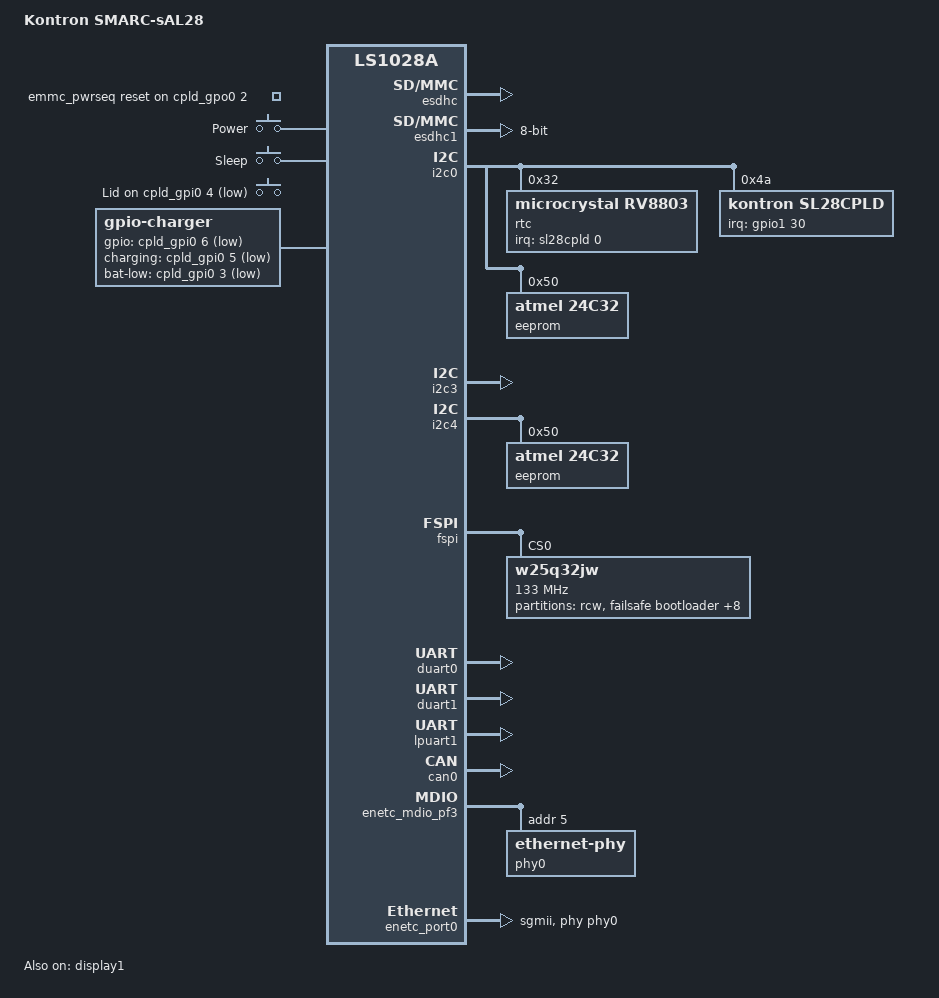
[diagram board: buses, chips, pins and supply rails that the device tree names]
/*
 * Device Tree Include file for Kontron SMARC-sAL28.
 */

/dts-v1/;
#include "../freescale/fsl-ls1028a.dtsi"
#include <dt-bindings/gpio/gpio.h>
#include <dt-bindings/input/input.h>

/ {
	model = "Kontron SMARC-sAL28";
	compatible = "kontron,sl28", "fsl,ls1028a";

	aliases {
		crypto = &crypto;
		serial0 = &duart0;
		serial1 = &duart1;
	};

	chosen {
		stdout-path = "serial0:115200n8";
	};

	emmc_pwrseq: emmc-pwrseq {
		compatible = "mmc-pwrseq-simple";
		reset-gpios = <&cpld_gpo0 2 GPIO_ACTIVE_HIGH>;
	};

	buttons0 {
		compatible = "gpio-keys";

		power-button {
			interrupt-parent = <&sl28cpld>;
			interrupts = <4 0>;
			linux,code = <KEY_POWER>;
			label = "Power";
			wakeup-source;
		};

		sleep-button {
			interrupt-parent = <&sl28cpld>;
			interrupts = <5 0>;
			linux,code = <KEY_SLEEP>;
			label = "Sleep";
			wakeup-source;
		};
	};

	buttons1 {
		compatible = "gpio-keys-polled";
		poll-interval = <200>;

		lid_sw: lid_switch {
			linux,input-type = <EV_SW>;
			linux,code = <SW_LID>;
			gpios = <&cpld_gpi0 4 GPIO_ACTIVE_LOW>;
			label = "Lid";
		};
	};

	charger {
		compatible = "gpio-charger";
		charger-type = "battery";
		gpios = <&cpld_gpi0 6 GPIO_ACTIVE_LOW>;
		charging-gpio = <&cpld_gpi0 5 GPIO_ACTIVE_LOW>;
		bat-low-gpio = <&cpld_gpi0 3 GPIO_ACTIVE_LOW>;
	};
};

&esdhc {
	status = "okay";
	sd-uhs-sdr104;
	sd-uhs-sdr50;
	sd-uhs-sdr25;
	sd-uhs-sdr12;
};

&esdhc1 {
	status = "okay";
	bus-width = <8>;
	mmc-hs200-1_8v;
	mmc-pwrseq = <&emmc_pwrseq>;
};

&i2c0 {
	status = "okay";
	/* DMA is broken for now (maybe just a driver issue). If the device
	 * answers with a NAK, the DMA engine will not return and the I2C
	 * driver will wait for a huge 1000ms timeout. This breaks the at24
	 * driver for example. So disable the DMA engine for now. */
	dma-names = <>;

	rtc@32 {
		compatible = "microcrystal,rv8803";
		reg = <0x32>;
		interrupt-parent = <&sl28cpld>;
		interrupts = <0 0>;
	};

	sl28cpld: sl28cpld@4a {
		#address-cells = <1>;
		#size-cells = <0>;
		compatible = "kontron,sl28cpld";
		reg = <0x4a>;
		interrupt-parent = <&gpio1>;
		interrupts = <30 IRQ_TYPE_EDGE_FALLING>;

		interrupt-controller;
		#interrupt-cells = <2>;

		watchdog@4 {
			compatible = "kontron,sl28cpld-wdt";
			reg = <0x4>;
		};

		fan@b {
			compatible = "kontron,sl28cpld-fan";
			reg = <0xb>;
		};

		pwm0: pwm0@c {
			#pwm-cells = <2>;
			compatible = "kontron,sl28cpld-pwm";
			reg = <0xc>;
		};

		pwm1: pwm1@e {
			#pwm-cells = <2>;
			compatible = "kontron,sl28cpld-pwm";
			reg = <0xe>;
		};

		cpld_gpio0: gpio0@10 {
			compatible = "kontron,sl28cpld-gpio";
			reg = <0x10>;
			interrupt-parent = <&gpio1>;
			interrupts = <30 IRQ_TYPE_EDGE_FALLING>;

			gpio-controller;
			#gpio-cells = <2>;
			gpio-line-names =
				"GPIO0_CAM0_PWR_N", "GPIO1_CAM1_PWR_N",
				"GPIO2_CAM0_RST_N", "GPIO3_CAM1_RST_N",
				"GPIO4_HDA_RST_N", "GPIO5_PWM_OUT",
				"GPIO6_TACHIN", "GPIO7";

			interrupt-controller;
			#interrupt-cells = <2>;
		};

		cpld_gpio1: gpio1@15 {
			compatible = "kontron,sl28cpld-gpio";
			reg = <0x15>;
			interrupt-parent = <&gpio1>;
			interrupts = <30 IRQ_TYPE_EDGE_FALLING>;

			gpio-controller;
			#gpio-cells = <2>;
			gpio-line-names =
				"GPIO8", "GPIO9", "GPIO10", "GPIO11",
				"", "", "", "";

			interrupt-controller;
			#interrupt-cells = <2>;
		};

		cpld_gpo0: gpo0@1a {
			compatible = "kontron,sl28cpld-gpo";
			reg = <0x1a>;
			gpio-controller;
			#gpio-cells = <2>;
			gpio-line-names =
				"LCD0 voltage enable", "LCD0 backlight enable",
				"eMMC reset", "LVDS bridge reset",
				"LVDS bridge power-down", "SDIO power enable",
				"", "";
		};

		cpld_gpi0: gpi0@1b {
			compatible = "kontron,sl28cpld-gpi";
			reg = <0x1b>;
			gpio-controller;
			#gpio-cells = <2>;
			gpio-line-names =
				"Power button", "Force recovery", "Sleep", "Battery low",
				"Lid state", "Charging", "Charger present", "";
		};
	};

	eeprom@50 {
		compatible = "atmel,24c32";
		reg = <0x50>;
		pagesize = <32>;
	};
};

&i2c3 {
	status = "okay";

	/* DMA is broken for now (maybe just a driver issue). If the device
	 * answers with a NAK, the DMA engine will not return and the I2C
	 * driver will wait for a huge 1000ms timeout. This breaks the at24
	 * driver for example. So disable the DMA engine for now. */
	dma-names = <>;
};

&i2c4 {
	status = "okay";

	/* DMA is broken for now (maybe just a driver issue). If the device
	 * answers with a NAK, the DMA engine will not return and the I2C
	 * driver will wait for a huge 1000ms timeout. This breaks the at24
	 * driver for example. So disable the DMA engine for now. */
	dma-names = <>;

	eeprom@50 {
		compatible = "atmel,24c32";
		reg = <0x50>;
		pagesize = <32>;
	};
};

&fspi {
	status = "okay";
	nxp,fspi-has-second-chip;

	w25q32jw@0 {
		#address-cells = <1>;
		#size-cells = <1>;
		compatible = "w25q32jw", "jedec,spi-nor";
		m25p,fast-read;
		spi-max-frequency = <133000000>;
		reg = <0>;
		/* The following setting enables 1-1-2 (CMD-ADDR-DATA) mode */
		spi-rx-bus-width = <2>; /* 2 SPI Rx lines */
		spi-tx-bus-width = <1>; /* 1 SPI Tx line */

		partition@0 {
			reg = <0x000000 0x010000>;
			label = "rcw";
			read-only;
		};

		partition@10000 {
			reg = <0x010000 0x0f0000>;
			label = "failsafe bootloader";
			read-only;
		};

		partition@100000 {
			reg = <0x100000 0x040000>;
			label = "failsafe DP firmware";
			read-only;
		};

		partition@140000 {
			reg = <0x140000 0x0a0000>;
			label = "failsafe trusted firmware";
			read-only;
		};

		partition@1e0000 {
			reg = <0x1e0000 0x020000>;
			label = "reserved";
			read-only;
		};

		partition@200000 {
			reg = <0x200000 0x010000>;
			label = "configuration store";
		};

		partition@210000 {
			reg = <0x210000 0x0f0000>;
			label = "bootloader";
		};

		partition@300000 {
			reg = <0x300000 0x040000>;
			label = "DP firmware";
		};

		partition@340000 {
			reg = <0x340000 0x0a0000>;
			label = "trusted firmware";
		};

		partition@3e0000 {
			reg = <0x3e0000 0x020000>;
			label = "bootloader environment";
		};
	};
};

&duart0 {
	status = "okay";
};

&duart1 {
	status = "okay";
};

&lpuart1 {
	status = "okay";
};

&can0 {
	status = "okay";
};

&display1 {
	resolution = "3840x2160@60",
		   "1920x1080@60",
		   "1280x720@60",
		   "720x480@60";
	lane_mapping = <0x4e>;
	edp_link_rate = <0x6>;
	edp_num_lanes = <0x4>;
	status = "okay";
};

&enetc_mdio_pf3 {
	phy0: ethernet-phy@5 {
		reg = <0x5>;
	};

	phy1: ethernet-phy@4 {
		reg = <0x4>;
		status = "disabled";
	};
};

&enetc_port0 {
	phy-handle = <&phy0>;
	phy-connection-type = "sgmii";
	status = "okay";
};

&enetc_port1 {
	phy-handle = <&phy1>;
	phy-connection-type = "rgmii";
	status = "disabled";
};

&enetc_port2 {
	status = "disabled";
};

&enetc_port3 {
	status = "disabled";
};

&switch_port0 {
	status = "disabled";
};

&switch_port1 {
	status = "disabled";
};

&switch_port2 {
	status = "disabled";
};

&switch_port3 {
	status = "disabled";
};

&switch_port4 {
	status = "disabled";
};

&switch_port5 {
	status = "disabled";
};

&gpio1 {
	gpio-line-names =
		"", "", "", "", "", "", "", "",
		"", "", "", "", "", "", "", "",
		"", "", "", "", "", "", "TDO", "TCK",
		"", "", "", "", "", "", "", "";
};

&gpio2 {
	gpio-line-names =
		"", "", "", "", "", "", "TMS", "TDI",
		"", "", "", "", "", "", "", "",
		"", "", "", "", "", "", "", "",
		"", "", "", "", "", "", "", "";
};
